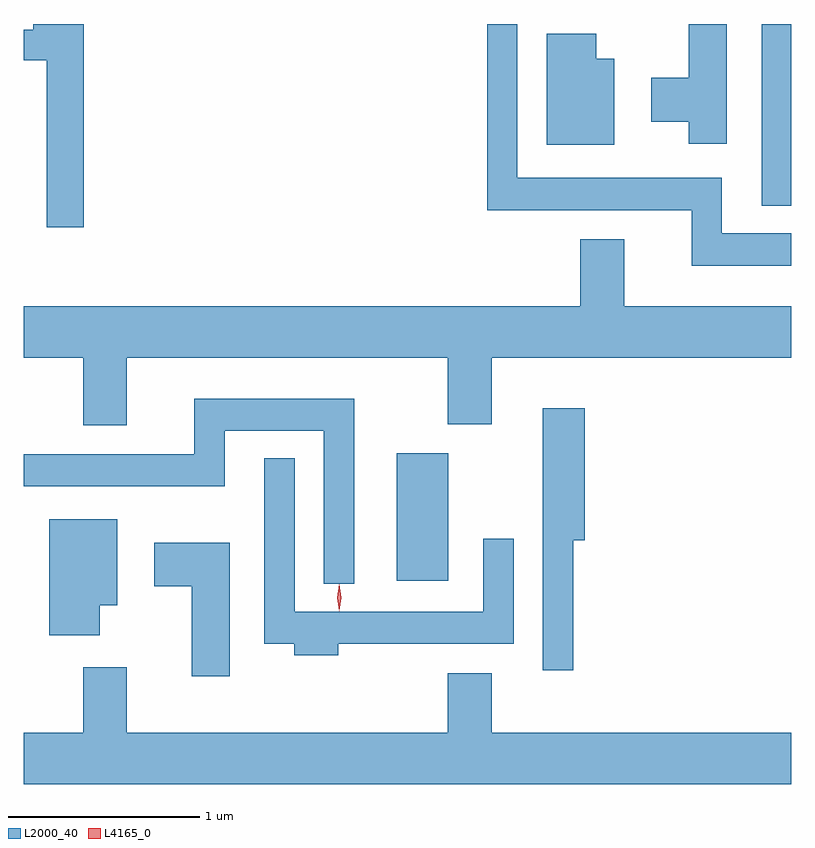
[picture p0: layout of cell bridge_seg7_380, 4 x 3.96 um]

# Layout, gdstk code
import gdstk
lib = gdstk.Library(unit=1e-6, precision=1e-09)
def R(c, l, rs):  # rectangles x0, y0, x1, y1
    for r in rs: c.add(gdstk.rectangle(r[:2], r[2:], *l))
def P(c, l, *ps):  # polygons
    for p in ps: c.add(gdstk.Polygon(p, *l))
L2000_40 = (2000, 40)
L4165_0 = (4165, 0)

bridge_seg7_380 = lib.new_cell('bridge_seg7_380')
R(bridge_seg7_380, L2000_40, [(1146.546,1744.236,1146.814,1744.899), (1148.446,1746.188,1148.601,1747.135)])
P(bridge_seg7_380, L2000_40, [(1148.601,1746.044),(1148.239,1746.044),(1148.239,1746.334),(1147.174,1746.334),(1147.174,1747.135),(1147.016,1747.135),(1147.016,1746.166),(1148.081,1746.166),(1148.081,1745.876),(1148.601,1745.876)],
  [(1144.914,1747.135),(1144.651,1747.135),(1144.651,1747.104),(1144.601,1747.104),(1144.601,1746.946),(1144.721,1746.946),(1144.721,1746.076),(1144.914,1746.076)],
  [(1148.264,1747.135),(1148.066,1747.135),(1148.066,1746.854),(1147.871,1746.854),(1147.871,1746.626),(1148.066,1746.626),(1148.066,1746.511),(1148.264,1746.511)],
  [(1147.679,1746.954),(1147.584,1746.954),(1147.584,1747.084),(1147.326,1747.084),(1147.326,1746.506),(1147.679,1746.506)],
  [(1145.139,1745.396),(1146.811,1745.396),(1146.811,1745.051),(1147.039,1745.051),(1147.039,1745.396),(1148.601,1745.396),(1148.601,1745.664),(1147.729,1745.664),(1147.729,1746.014),(1147.501,1746.014),(1147.501,1745.664),(1144.601,1745.664),(1144.601,1745.396),(1144.911,1745.396),(1144.911,1745.046),(1145.139,1745.046)],
  [(1146.324,1745.184),(1145.491,1745.184),(1145.491,1744.894),(1144.601,1744.894),(1144.601,1744.726),(1145.649,1744.726),(1145.649,1745.016),(1146.166,1745.016),(1146.166,1744.218),(1146.324,1744.218)],
  [(1147.464,1744.446),(1147.524,1744.446),(1147.524,1745.134),(1147.306,1745.134),(1147.306,1743.768),(1147.464,1743.768)],
  [(1146.239,1743.906),(1147.154,1743.906),(1147.154,1744.453),(1146.996,1744.453),(1146.996,1744.074),(1146.014,1744.074),(1146.014,1744.873),(1145.856,1744.873),(1145.856,1743.906),(1146.011,1743.906),(1146.011,1743.846),(1146.239,1743.846)],
  [(1144.999,1744.106),(1145.089,1744.106),(1145.089,1744.554),(1144.736,1744.554),(1144.736,1743.951),(1144.999,1743.951)],
  [(1145.674,1744.434),(1145.281,1744.434),(1145.281,1744.206),(1145.476,1744.206),(1145.476,1743.736),(1145.674,1743.736)],
  [(1148.601,1743.444),(1147.039,1743.444),(1147.039,1743.754),(1146.811,1743.754),(1146.811,1743.444),(1145.139,1743.444),(1145.139,1743.784),(1144.911,1743.784),(1144.911,1743.444),(1144.601,1743.444),(1144.601,1743.176),(1148.601,1743.176)])
P(bridge_seg7_380, L4165_0, [(1146.245,1744.077),(1146.245,1744.078),(1146.235,1744.147),(1146.245,1744.216),(1146.245,1744.216),(1146.246,1744.216),(1146.255,1744.147),(1146.246,1744.078)],
  [(1146.245,1744.079),(1146.245,1744.08),(1146.235,1744.146),(1146.245,1744.212),(1146.245,1744.213),(1146.246,1744.212),(1146.255,1744.146),(1146.246,1744.08)])

lib.write_gds('bridge_seg7_380.gds')
